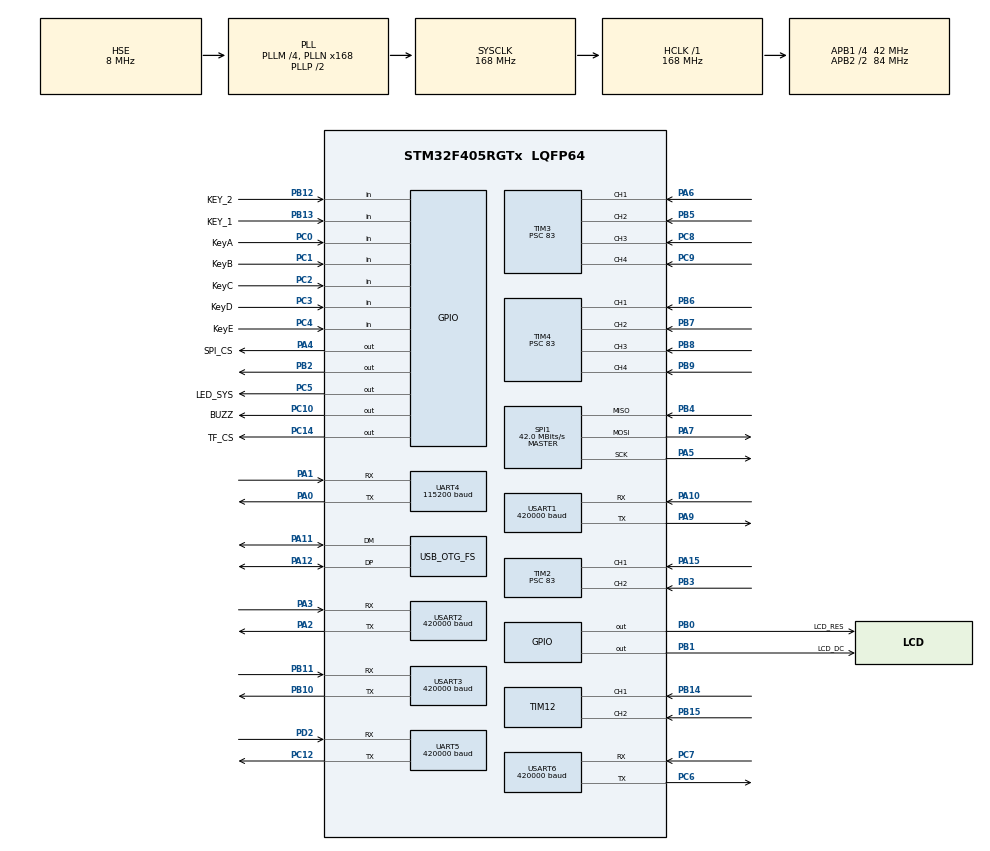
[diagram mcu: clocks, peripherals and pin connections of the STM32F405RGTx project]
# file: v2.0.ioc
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Dma.Request0=USART2_RX
Dma.Request1=USART1_RX
Dma.Request2=USART3_RX
Dma.Request3=SPI1_TX
Dma.Request4=UART4_RX
Dma.Request5=UART5_RX
Dma.Request6=USART6_RX
Dma.SPI1_TX.3.Direction=DMA_MEMORY_TO_PERIPH
Dma.SPI1_TX.3.FIFOMode=DMA_FIFOMODE_DISABLE
Dma.SPI1_TX.3.Instance=DMA2_Stream3
Dma.SPI1_TX.3.MemDataAlignment=DMA_MDATAALIGN_BYTE
Dma.SPI1_TX.3.MemInc=DMA_MINC_ENABLE
Dma.SPI1_TX.3.Mode=DMA_NORMAL
Dma.SPI1_TX.3.PeriphDataAlignment=DMA_PDATAALIGN_BYTE
Dma.SPI1_TX.3.PeriphInc=DMA_PINC_DISABLE
Dma.SPI1_TX.3.Priority=DMA_PRIORITY_LOW
Dma.UART4_RX.4.Direction=DMA_PERIPH_TO_MEMORY
Dma.UART4_RX.4.FIFOMode=DMA_FIFOMODE_DISABLE
Dma.UART4_RX.4.Instance=DMA1_Stream2
Dma.UART4_RX.4.MemDataAlignment=DMA_MDATAALIGN_BYTE
Dma.UART4_RX.4.MemInc=DMA_MINC_ENABLE
Dma.UART4_RX.4.Mode=DMA_NORMAL
Dma.UART4_RX.4.PeriphDataAlignment=DMA_PDATAALIGN_BYTE
Dma.UART4_RX.4.PeriphInc=DMA_PINC_DISABLE
Dma.UART4_RX.4.Priority=DMA_PRIORITY_HIGH
Dma.UART5_RX.5.Direction=DMA_PERIPH_TO_MEMORY
Dma.UART5_RX.5.FIFOMode=DMA_FIFOMODE_DISABLE
Dma.UART5_RX.5.Instance=DMA1_Stream0
Dma.UART5_RX.5.MemDataAlignment=DMA_MDATAALIGN_BYTE
Dma.UART5_RX.5.MemInc=DMA_MINC_ENABLE
Dma.UART5_RX.5.Mode=DMA_NORMAL
Dma.UART5_RX.5.PeriphDataAlignment=DMA_PDATAALIGN_BYTE
Dma.UART5_RX.5.PeriphInc=DMA_PINC_DISABLE
Dma.UART5_RX.5.Priority=DMA_PRIORITY_LOW
Dma.USART1_RX.1.Direction=DMA_PERIPH_TO_MEMORY
Dma.USART1_RX.1.FIFOMode=DMA_FIFOMODE_DISABLE
Dma.USART1_RX.1.Instance=DMA2_Stream2
Dma.USART1_RX.1.MemDataAlignment=DMA_MDATAALIGN_BYTE
Dma.USART1_RX.1.MemInc=DMA_MINC_ENABLE
Dma.USART1_RX.1.Mode=DMA_NORMAL
Dma.USART1_RX.1.PeriphDataAlignment=DMA_PDATAALIGN_BYTE
Dma.USART1_RX.1.PeriphInc=DMA_PINC_DISABLE
Dma.USART1_RX.1.Priority=DMA_PRIORITY_HIGH
Dma.USART2_RX.0.Direction=DMA_PERIPH_TO_MEMORY
Dma.USART2_RX.0.FIFOMode=DMA_FIFOMODE_DISABLE
Dma.USART2_RX.0.Instance=DMA1_Stream5
Dma.USART2_RX.0.MemDataAlignment=DMA_MDATAALIGN_BYTE
Dma.USART2_RX.0.MemInc=DMA_MINC_ENABLE
Dma.USART2_RX.0.Mode=DMA_NORMAL
Dma.USART2_RX.0.PeriphDataAlignment=DMA_PDATAALIGN_BYTE
Dma.USART2_RX.0.PeriphInc=DMA_PINC_DISABLE
Dma.USART2_RX.0.Priority=DMA_PRIORITY_HIGH
Dma.USART3_RX.2.Direction=DMA_PERIPH_TO_MEMORY
Dma.USART3_RX.2.FIFOMode=DMA_FIFOMODE_DISABLE
Dma.USART3_RX.2.Instance=DMA1_Stream1
Dma.USART3_RX.2.MemDataAlignment=DMA_MDATAALIGN_BYTE
Dma.USART3_RX.2.MemInc=DMA_MINC_ENABLE
Dma.USART3_RX.2.Mode=DMA_NORMAL
Dma.USART3_RX.2.PeriphDataAlignment=DMA_PDATAALIGN_BYTE
Dma.USART3_RX.2.PeriphInc=DMA_PINC_DISABLE
Dma.USART3_RX.2.Priority=DMA_PRIORITY_HIGH
Dma.USART6_RX.6.Direction=DMA_PERIPH_TO_MEMORY
Dma.USART6_RX.6.FIFOMode=DMA_FIFOMODE_DISABLE
Dma.USART6_RX.6.Instance=DMA2_Stream1
Dma.USART6_RX.6.MemDataAlignment=DMA_MDATAALIGN_BYTE
Dma.USART6_RX.6.MemInc=DMA_MINC_ENABLE
Dma.USART6_RX.6.Mode=DMA_NORMAL
Dma.USART6_RX.6.PeriphDataAlignment=DMA_PDATAALIGN_BYTE
Dma.USART6_RX.6.PeriphInc=DMA_PINC_DISABLE
Dma.USART6_RX.6.Priority=DMA_PRIORITY_LOW
FREERTOS.Tasks01=defaultTask,0,128,StartDefaultTask,Default,NULL,Dynamic,NULL,NULL
FREERTOS.configTOTAL_HEAP_SIZE=1024*25
IWDG.Prescaler=IWDG_PRESCALER_64
IWDG.Reload=625
Mcu.Family=STM32F4
Mcu.Name=STM32F405RGTx
Mcu.Package=LQFP64
NVIC.DMA1_Stream0_IRQn=true\:5\:0\:false\:false\:true\:true\:false\:true\:true
NVIC.DMA1_Stream1_IRQn=true\:5\:0\:false\:false\:true\:true\:true\:true\:true
NVIC.DMA1_Stream2_IRQn=true\:5\:0\:false\:false\:true\:true\:false\:true\:true
NVIC.DMA1_Stream5_IRQn=true\:6\:0\:true\:false\:true\:true\:false\:true\:true
NVIC.DMA2_Stream1_IRQn=true\:5\:0\:false\:false\:true\:true\:false\:true\:true
NVIC.DMA2_Stream2_IRQn=true\:5\:0\:false\:false\:true\:true\:false\:true\:true
NVIC.DMA2_Stream3_IRQn=true\:5\:0\:false\:false\:true\:true\:false\:true\:true
NVIC.OTG_FS_IRQn=true\:5\:0\:false\:false\:true\:true\:false\:true\:true
NVIC.PriorityGroup=NVIC_PRIORITYGROUP_4
NVIC.SPI1_IRQn=true\:7\:0\:true\:false\:true\:true\:true\:true\:true
NVIC.TIM2_IRQn=true\:5\:0\:false\:false\:true\:false\:true\:true\:true
NVIC.TIM3_IRQn=true\:5\:0\:false\:false\:true\:false\:true\:true\:true
NVIC.TIM4_IRQn=true\:5\:0\:false\:false\:true\:false\:true\:true\:true
NVIC.TIM6_DAC_IRQn=true\:5\:0\:false\:false\:true\:false\:true\:true\:true
NVIC.TIM7_IRQn=true\:7\:0\:true\:false\:true\:false\:true\:true\:true
NVIC.TIM8_BRK_TIM12_IRQn=true\:5\:0\:false\:false\:true\:true\:true\:true\:true
NVIC.UART4_IRQn=true\:5\:0\:false\:false\:true\:true\:true\:true\:true
NVIC.UART5_IRQn=true\:5\:0\:false\:false\:true\:true\:true\:true\:true
NVIC.USART1_IRQn=true\:6\:0\:true\:false\:true\:true\:true\:true\:true
NVIC.USART2_IRQn=true\:6\:0\:true\:false\:true\:true\:true\:true\:true
NVIC.USART3_IRQn=true\:6\:0\:true\:false\:true\:true\:true\:true\:true
NVIC.USART6_IRQn=true\:5\:0\:false\:false\:true\:true\:true\:true\:true
PA0-WKUP.GPIO_PuPd=GPIO_PULLUP
PA0-WKUP.Mode=Asynchronous
PA0-WKUP.Signal=UART4_TX
PA1.GPIO_PuPd=GPIO_PULLUP
PA1.Mode=Asynchronous
PA1.Signal=UART4_RX
PA10.GPIO_PuPd=GPIO_PULLUP
PA10.Mode=Asynchronous
PA10.Signal=USART1_RX
PA11.Mode=Device_Only
PA11.Signal=USB_OTG_FS_DM
PA12.Mode=Device_Only
PA12.Signal=USB_OTG_FS_DP
PA13.Mode=Serial_Wire
PA13.Signal=SYS_JTMS-SWDIO
PA14.Mode=Serial_Wire
PA14.Signal=SYS_JTCK-SWCLK
PA15.GPIO_PuPd=GPIO_PULLUP
PA15.Signal=S_TIM2_CH1_ETR
PA2.GPIO_PuPd=GPIO_PULLUP
PA2.Mode=Asynchronous
PA2.Signal=USART2_TX
PA3.GPIO_PuPd=GPIO_PULLUP
PA3.Mode=Asynchronous
PA3.Signal=USART2_RX
PA4.GPIO_Label=SPI_CS
PA4.GPIO_PuPd=GPIO_PULLUP
PA4.Signal=GPIO_Output
PA5.GPIO_PuPd=GPIO_PULLUP
PA5.Mode=Full_Duplex_Master
PA5.Signal=SPI1_SCK
PA6.GPIO_PuPd=GPIO_PULLUP
PA6.Signal=S_TIM3_CH1
PA7.GPIO_PuPd=GPIO_PULLUP
PA7.Mode=Full_Duplex_Master
PA7.Signal=SPI1_MOSI
PA9.GPIO_PuPd=GPIO_PULLUP
PA9.Mode=Asynchronous
PA9.Signal=USART1_TX
PB0.GPIO_Label=LCD_RES
PB0.GPIO_PuPd=GPIO_PULLUP
PB0.Signal=GPIO_Output
PB1.GPIO_Label=LCD_DC
PB1.GPIO_PuPd=GPIO_PULLUP
PB1.Signal=GPIO_Output
PB10.Mode=Asynchronous
PB10.Signal=USART3_TX
PB11.Mode=Asynchronous
PB11.Signal=USART3_RX
PB12.GPIO_Label=KEY_2
PB12.GPIO_PuPd=GPIO_PULLUP
PB12.Signal=GPIO_Input
PB13.GPIO_Label=KEY_1
PB13.GPIO_PuPd=GPIO_PULLUP
PB13.Signal=GPIO_Input
PB14.Signal=S_TIM12_CH1
PB15.Signal=S_TIM12_CH2
PB2.Signal=GPIO_Output
PB3.GPIO_PuPd=GPIO_PULLUP
PB3.Signal=S_TIM2_CH2
PB4.Mode=Full_Duplex_Master
PB4.Signal=SPI1_MISO
PB5.GPIO_PuPd=GPIO_PULLUP
PB5.Signal=S_TIM3_CH2
PB6.GPIO_PuPd=GPIO_PULLUP
PB6.Signal=S_TIM4_CH1
PB7.GPIO_PuPd=GPIO_PULLUP
PB7.Signal=S_TIM4_CH2
PB8.GPIO_PuPd=GPIO_PULLUP
PB8.Signal=S_TIM4_CH3
PB9.GPIO_PuPd=GPIO_PULLUP
PB9.Signal=S_TIM4_CH4
PC0.GPIO_Label=KeyA
PC0.GPIO_PuPd=GPIO_PULLUP
PC0.Signal=GPIO_Input
PC1.GPIO_Label=KeyB
PC1.GPIO_PuPd=GPIO_PULLUP
PC1.Signal=GPIO_Input
PC10.GPIO_Label=BUZZ
PC10.Signal=GPIO_Output
PC12.Mode=Asynchronous
PC12.Signal=UART5_TX
PC14-OSC32_IN.GPIO_Label=TF_CS
PC14-OSC32_IN.Signal=GPIO_Output
PC2.GPIO_Label=KeyC
PC2.GPIO_PuPd=GPIO_PULLUP
PC2.Signal=GPIO_Input
PC3.GPIO_Label=KeyD
PC3.GPIO_PuPd=GPIO_PULLUP
PC3.Signal=GPIO_Input
PC4.GPIO_Label=KeyE
PC4.GPIO_PuPd=GPIO_PULLUP
PC4.Signal=GPIO_Input
PC5.GPIO_Label=LED_SYS
PC5.Signal=GPIO_Output
PC6.Mode=Asynchronous
PC6.Signal=USART6_TX
PC7.Mode=Asynchronous
PC7.Signal=USART6_RX
PC8.GPIO_PuPd=GPIO_PULLUP
PC8.Signal=S_TIM3_CH3
PC9.GPIO_PuPd=GPIO_PULLUP
PC9.Signal=S_TIM3_CH4
PD2.Mode=Asynchronous
PD2.Signal=UART5_RX
PH0-OSC_IN.Mode=HSE-External-Oscillator
PH0-OSC_IN.Signal=RCC_OSC_IN
PH1-OSC_OUT.Mode=HSE-External-Oscillator
PH1-OSC_OUT.Signal=RCC_OSC_OUT
ProjectManager.HeapSize=0x800
ProjectManager.StackSize=0x800
ProjectManager.TargetToolchain=MDK-ARM V5.32
RCC.48MHZClocksFreq_Value=48000000
RCC.AHBFreq_Value=168000000
RCC.APB1CLKDivider=RCC_HCLK_DIV4
RCC.APB1Freq_Value=42000000
RCC.APB1TimFreq_Value=84000000
RCC.APB2CLKDivider=RCC_HCLK_DIV2
RCC.APB2Freq_Value=84000000
RCC.APB2TimFreq_Value=168000000
RCC.CortexFreq_Value=168000000
RCC.HCLKFreq_Value=168000000
RCC.HSE_VALUE=8000000
RCC.HSI_VALUE=16000000
RCC.LSE_VALUE=32768
RCC.PLLM=4
RCC.PLLN=168
RCC.PLLQ=7
RCC.SYSCLKFreq_VALUE=168000000
RCC.SYSCLKSource=RCC_SYSCLKSOURCE_PLLCLK
RCC.VCOOutputFreq_Value=336000000
SH.S_TIM12_CH1.0=TIM12_CH1,Input_Capture1_from_TI1
SH.S_TIM12_CH2.0=TIM12_CH2,Input_Capture2_from_TI2
SH.S_TIM2_CH1_ETR.0=TIM2_CH1,Input_Capture1_from_TI1
SH.S_TIM2_CH2.0=TIM2_CH2,Input_Capture2_from_TI2
SH.S_TIM3_CH1.0=TIM3_CH1,Input_Capture1_from_TI1
SH.S_TIM3_CH2.0=TIM3_CH2,Input_Capture2_from_TI2
SH.S_TIM3_CH3.0=TIM3_CH3,Input_Capture3_from_TI3
SH.S_TIM3_CH4.0=TIM3_CH4,Input_Capture4_from_TI4
SH.S_TIM4_CH1.0=TIM4_CH1,Input_Capture1_from_TI1
SH.S_TIM4_CH2.0=TIM4_CH2,Input_Capture2_from_TI2
SH.S_TIM4_CH3.0=TIM4_CH3,Input_Capture3_from_TI3
SH.S_TIM4_CH4.0=TIM4_CH4,Input_Capture4_from_TI4
SPI1.BaudRatePrescaler=SPI_BAUDRATEPRESCALER_2
SPI1.CalculateBaudRate=42.0 MBits/s
SPI1.Direction=SPI_DIRECTION_2LINES
SPI1.Mode=SPI_MODE_MASTER
SPI1.VirtualNSS=VM_NSSHARD
SPI1.VirtualType=VM_MASTER
TIM12.Channel-Input_Capture1_from_TI1=TIM_CHANNEL_1
TIM12.Channel-Input_Capture2_from_TI2=TIM_CHANNEL_2
TIM2.Channel-Input_Capture1_from_TI1=TIM_CHANNEL_1
TIM2.Channel-Input_Capture2_from_TI2=TIM_CHANNEL_2
TIM2.ICFilter_CH1=10
TIM2.ICFilter_CH2=10
TIM2.Period=65535
TIM2.Prescaler=83
TIM3.Channel-Input_Capture1_from_TI1=TIM_CHANNEL_1
TIM3.Channel-Input_Capture2_from_TI2=TIM_CHANNEL_2
TIM3.Channel-Input_Capture3_from_TI3=TIM_CHANNEL_3
TIM3.Channel-Input_Capture4_from_TI4=TIM_CHANNEL_4
TIM3.ICFilter_CH1=10
TIM3.ICFilter_CH2=10
TIM3.ICFilter_CH3=10
TIM3.ICFilter_CH4=10
TIM3.Prescaler=83
TIM4.Channel-Input_Capture1_from_TI1=TIM_CHANNEL_1
TIM4.Channel-Input_Capture2_from_TI2=TIM_CHANNEL_2
TIM4.Channel-Input_Capture3_from_TI3=TIM_CHANNEL_3
TIM4.Channel-Input_Capture4_from_TI4=TIM_CHANNEL_4
TIM4.ICFilter_CH1=10
TIM4.ICFilter_CH2=10
TIM4.ICFilter_CH3=10
TIM4.ICFilter_CH4=10
TIM4.Prescaler=83
TIM6.Period=7
TIM6.Prescaler=83
TIM7.Period=5000-1
TIM7.Prescaler=8300
UART4.BaudRate=115200
UART4.VirtualMode=Asynchronous
UART5.BaudRate=420000
UART5.VirtualMode=Asynchronous
USART1.BaudRate=420000
USART1.VirtualMode=VM_ASYNC
USART2.BaudRate=420000
USART2.VirtualMode=VM_ASYNC
USART3.BaudRate=420000
USART3.VirtualMode=VM_ASYNC
USART6.BaudRate=420000
USART6.VirtualMode=VM_ASYNC
USB_DEVICE.CLASS_NAME_FS=CDC
USB_DEVICE.VirtualMode-CDC_FS=Cdc
USB_DEVICE.VirtualModeFS=Cdc_FS
USB_OTG_FS.VirtualMode=Device_Only
VP_FREERTOS_VS_CMSIS_V1.Mode=CMSIS_V1
VP_IWDG_VS_IWDG.Mode=IWDG_Activate
VP_TIM6_VS_ClockSourceINT.Mode=Enable_Timer
VP_TIM7_VS_ClockSourceINT.Mode=Enable_Timer
VP_USB_DEVICE_VS_USB_DEVICE_CDC_FS.Mode=CDC_FS
board=custom

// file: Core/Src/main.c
/* USER CODE BEGIN Header */
/**
  ******************************************************************************
  * @file           : main.c
  * @brief          : Main program body
  ******************************************************************************
  * @attention
  *
  * Copyright (c) 2025 STMicroelectronics.
  * All rights reserved.
  *
  * This software is licensed under terms that can be found in the LICENSE file
  * in the root directory of this software component.
  * If no LICENSE file comes with this software, it is provided AS-IS.
  *
  ******************************************************************************
  */
/* USER CODE END Header */
#include "main.h"
#include "cmsis_os.h"
#include "dma.h"
#include "iwdg.h"
#include "spi.h"
#include "tim.h"
#include "usart.h"
#include "usb_device.h"
#include "gpio.h"

/* USER CODE BEGIN Includes */
#include "lcd.h"
#include "crfs.h"
#include "rf_port.h"
#include "pwm_freq.h"
uint8_t DisplayData[8][20];             //LCD显示buf
extern uint8_t ping_phrase[];
uint8_t BindData[]= {0xEA,0xEA,0xEA,0xEA,0xEA,0xEA};
extern int RX_RSSI_GET,RX_LQ_GET;
extern uint8_t CRSF_RawData_1[CRSF_MAX_PACKET_LEN+3];
extern uint8_t CRSF_RawData_2[CRSF_MAX_PACKET_LEN+3];
extern uint8_t  string_data[20];
extern uint8_t  version_string_data[2];
extern uint8_t  indexes_len;
extern u16 temp_data;
extern uint32_t data_timeout;
extern float TimeFrequency[12];                //12个通道频率
extern float TimeDuty[12];                     //12个通道占空比
extern float channe_target_fre;
		uint32_t period_time=0;
/* USER CODE END Includes */

/* USER CODE BEGIN PTD */
extern u8 CRSF_FRAMETYPE_BARO_ALTITUDE_static;
extern u8 CRSF_FRAMETYPE_BATTERY_static;
extern u8 CRSF_FRAMETYPE_LINK_static;
/* USER CODE END PTD */

void SystemClock_Config(void);
void MX_FREERTOS_Init(void);

int main(void)
{

  /* MCU Configuration--------------------------------------------------------*/

  /* Reset of all peripherals, Initializes the Flash interface and the Systick. */
  HAL_Init();

  /* Configure the system clock */
  SystemClock_Config();

  /* Initialize all configured peripherals */
  MX_GPIO_Init();
  MX_DMA_Init();
  MX_USART2_UART_Init();
  MX_USART1_UART_Init();
  MX_USART3_UART_Init();
  MX_SPI1_Init();
  MX_TIM2_Init();
  MX_TIM3_Init();
  MX_TIM4_Init();
  MX_TIM6_Init();
  MX_TIM7_Init();
  MX_UART4_Init();
  MX_TIM12_Init();
  MX_UART5_Init();
  MX_USART6_UART_Init();
  MX_IWDG_Init();
  /* USER CODE BEGIN 2 */
	Flash_para_init();
	Crc8_init(0xD5);
	Rx_device_init();
	HAL_TIM_Base_Start_IT(&htim6);
	HAL_TIM_Base_Start_IT(&htim7);

	__HAL_UART_ENABLE_IT(&huart1,UART_IT_IDLE);
	__HAL_UART_ENABLE_IT(&huart2,UART_IT_IDLE);
	__HAL_UART_ENABLE_IT(&huart3,UART_IT_IDLE);
	__HAL_UART_ENABLE_IT(&huart4,UART_IT_IDLE);
	__HAL_UART_ENABLE_IT(&huart5,UART_IT_IDLE);
	__HAL_UART_ENABLE_IT(&huart6,UART_IT_IDLE);

  /* USER CODE END 2 */

  /* Call init function for freertos objects (in freertos.c) */
  MX_FREERTOS_Init();

  /* Start scheduler */
  osKernelStart();

  /* We should never get here as control is now taken by the scheduler */
  /* Infinite loop */
  while (1)
  {

  }
}

void SystemClock_Config(void)
{
  RCC_OscInitTypeDef RCC_OscInitStruct = {0};
  RCC_ClkInitTypeDef RCC_ClkInitStruct = {0};

  /** Configure the main internal regulator output voltage
  */
  __HAL_RCC_PWR_CLK_ENABLE();
  __HAL_PWR_VOLTAGESCALING_CONFIG(PWR_REGULATOR_VOLTAGE_SCALE1);

  /** Initializes the RCC Oscillators according to the specified parameters
  * in the RCC_OscInitTypeDef structure.
  */
  RCC_OscInitStruct.OscillatorType = RCC_OSCILLATORTYPE_LSI|RCC_OSCILLATORTYPE_HSE;
  RCC_OscInitStruct.HSEState = RCC_HSE_ON;
  RCC_OscInitStruct.LSIState = RCC_LSI_ON;
  RCC_OscInitStruct.PLL.PLLState = RCC_PLL_ON;
  RCC_OscInitStruct.PLL.PLLSource = RCC_PLLSOURCE_HSE;
  RCC_OscInitStruct.PLL.PLLM = 4;
  RCC_OscInitStruct.PLL.PLLN = 168;
  RCC_OscInitStruct.PLL.PLLP = RCC_PLLP_DIV2;
  RCC_OscInitStruct.PLL.PLLQ = 7;
  if (HAL_RCC_OscConfig(&RCC_OscInitStruct) != HAL_OK)
  {
    Error_Handler();
  }

  /** Initializes the CPU, AHB and APB buses clocks
  */
  RCC_ClkInitStruct.ClockType = RCC_CLOCKTYPE_HCLK|RCC_CLOCKTYPE_SYSCLK
                              |RCC_CLOCKTYPE_PCLK1|RCC_CLOCKTYPE_PCLK2;
  RCC_ClkInitStruct.SYSCLKSource = RCC_SYSCLKSOURCE_PLLCLK;
  RCC_ClkInitStruct.AHBCLKDivider = RCC_SYSCLK_DIV1;
  RCC_ClkInitStruct.APB1CLKDivider = RCC_HCLK_DIV4;
  RCC_ClkInitStruct.APB2CLKDivider = RCC_HCLK_DIV2;

  if (HAL_RCC_ClockConfig(&RCC_ClkInitStruct, FLASH_LATENCY_5) != HAL_OK)
  {
    Error_Handler();
  }
}

void Error_Handler(void)
{
  __disable_irq();
  while (1)
  {
  }
}

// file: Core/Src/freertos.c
/* USER CODE BEGIN Header */
/**
  ******************************************************************************
  * File Name          : freertos.c
  * Description        : Code for freertos applications
  ******************************************************************************
  * @attention
  *
  * Copyright (c) 2025 STMicroelectronics.
  * All rights reserved.
  *
  * This software is licensed under terms that can be found in the LICENSE file
  * in the root directory of this software component.
  * If no LICENSE file comes with this software, it is provided AS-IS.
  *
  ******************************************************************************
  */
/* USER CODE END Header */

#include "FreeRTOS.h"
#include "task.h"
#include "main.h"
#include "cmsis_os.h"

/* USER CODE BEGIN Includes */
#include "lcd.h"
#include "gui.h"
#include "USART.h"
#include "device.h"
#include "rf_port.h"
#include "flash.h"
#include "pwm_freq.h"
#include "crfs.h"
/* USER CODE END Includes */

/* USER CODE BEGIN PTD */
extern u16 channe_target_value;
extern Rx_target * current_rx_target;
extern Rx_target Rx4,Rx6,Rx6_dual,Rx8_dual;//PWM接收机
extern Rx_target SuperD,SuperXnano,SuperXmono;//rx接收机
			extern float channe_target_fre;
extern	u8 CRSF_FRAMETYPE_BARO_ALTITUDE_static;
extern crsfLinkStatistics_t RX1_telemtering;
extern crsfLinkStatistics_t RX2_telemtering;
extern crsfLinkStatistics_t RX3_telemtering;
extern crsfLinkStatistics_t RX4_telemtering;
extern crsfLinkStatistics_t RX5_telemtering;
extern crsfLinkStatistics_t RX6_telemtering;

extern int8_t RX1_RSSI,RX1_LQ_GET,//接收机回传信息
			 RX2_RSSI,RX2_LQ_GET,
			 RX3_RSSI,RX3_LQ_GET,
			 RX5_RSSI,RX5_LQ_GET,
		   RX6_RSSI,RX6_LQ_GET;
/* USER CODE END PTD */

/* USER CODE BEGIN Variables */
extern u8 Test_Ready;

/* USER CODE END Variables */
osThreadId defaultTaskHandle;

/* USER CODE BEGIN FunctionPrototypes */
osThreadId BaseTask_1_Handle;
void BaseTask_1_Fun(void const * argument);

osThreadId BaseTask_2_Handle;
void BaseTask_2_Fun(void const * argument);

osThreadId BaseTask_3_Handle;
void BaseTask_3_Fun(void const * argument);

osThreadId RX_TESTTask_Handle;
void RX_TEST_Auto_Task_Fun(void const * argument);

osThreadId RX_MANULTask_Handle;
void RX_TEST_MANUL_Task_Fun(void const * argument);

osThreadId TransmiterTask_Handle;
void Transmiter_Task_Fun(void const * argument);
/* USER CODE END FunctionPrototypes */

void StartDefaultTask(void const * argument);

extern void MX_USB_DEVICE_Init(void);
void MX_FREERTOS_Init(void); /* (MISRA C 2004 rule 8.1) */

/* GetIdleTaskMemory prototype (linked to static allocation support) */
void vApplicationGetIdleTaskMemory( StaticTask_t **ppxIdleTaskTCBBuffer, StackType_t **ppxIdleTaskStackBuffer, uint32_t *pulIdleTaskStackSize );

/* USER CODE BEGIN GET_IDLE_TASK_MEMORY */
static StaticTask_t xIdleTaskTCBBuffer;
static StackType_t xIdleStack[configMINIMAL_STACK_SIZE];

void vApplicationGetIdleTaskMemory( StaticTask_t **ppxIdleTaskTCBBuffer, StackType_t **ppxIdleTaskStackBuffer, uint32_t *pulIdleTaskStackSize )
{
  *ppxIdleTaskTCBBuffer = &xIdleTaskTCBBuffer;
  *ppxIdleTaskStackBuffer = &xIdleStack[0];
  *pulIdleTaskStackSize = configMINIMAL_STACK_SIZE;
  /* place for user code */
}
/* USER CODE END GET_IDLE_TASK_MEMORY */

void MX_FREERTOS_Init(void) {

  /* Create the thread(s) */
  /* definition and creation of defaultTask */
  osThreadDef(defaultTask, StartDefaultTask, osPriorityNormal, 0, 128);
  defaultTaskHandle = osThreadCreate(osThread(defaultTask), NULL);

}

void StartDefaultTask(void const * argument)
{
  /* init code for USB_DEVICE */
  MX_USB_DEVICE_Init();
  /* USER CODE BEGIN StartDefaultTask */
			 osThreadDef(BaseTask_1_Handle, BaseTask_1_Fun, osPriorityNormal, 0, 1024);
		BaseTask_1_Handle = osThreadCreate(osThread(BaseTask_1_Handle), NULL);

		osThreadDef(BaseTask_2_Handle, BaseTask_2_Fun, osPriorityAboveNormal, 0, 128);
		BaseTask_2_Handle = osThreadCreate(osThread(BaseTask_2_Handle), NULL);

		osThreadDef(BaseTask_3_Handle, BaseTask_3_Fun, osPriorityNormal, 0, 128);
		BaseTask_3_Handle = osThreadCreate(osThread(BaseTask_3_Handle), NULL);

		osThreadDef(RX_TESTTask_Handle, RX_TEST_Auto_Task_Fun, osPriorityAboveNormal, 0, 2028);
		RX_TESTTask_Handle = osThreadCreate(osThread(RX_TESTTask_Handle), NULL);
		vTaskSuspend(RX_TESTTask_Handle);

		osThreadDef(RX_MANULTask_Handle, RX_TEST_MANUL_Task_Fun, osPriorityAboveNormal, 0, 1024);
		RX_MANULTask_Handle = osThreadCreate(osThread(RX_MANULTask_Handle), NULL);
		vTaskSuspend(RX_MANULTask_Handle);

		osThreadDef(TransmiterTask_Handle, Transmiter_Task_Fun, osPriorityNormal, 0, 128);
		TransmiterTask_Handle = osThreadCreate(osThread(TransmiterTask_Handle), NULL);
		  /* Infinite loop */
  for(;;)
  {

//
    osDelay(1000);
  }
  /* USER CODE END StartDefaultTask */
}

/* USER CODE BEGIN Application */
void BaseTask_1_Fun(void const * argument)
{
	LCD_Init();
	drawMainMenu();
	HAL_Delay(300);
  for(;;)
  {
		PING_TX_INFO();
		Key_Scan( );
		Menu_Process();
    osDelay(10);
  }
}

extern u8 Key_5D_state;
void BaseTask_2_Fun(void const * argument)
{
  for(;;)
  {

		Get_Pwm_channle();
		Update_PWM_RX_Info();
		Get_PWM_RX_Info();
		dynamic_display();
    osDelay(20);
  }
}
u16 channe_target_value_l=300;

u16 channe_target_value_h=2047;
void BaseTask_3_Fun(void const * argument)
{
  for(;;)
  {
		static u8 t;
		if(t)
		{
			channe_target_value=300;
			channe_target_fre=5.1;
			t=0;
		}
		else
		{
			channe_target_value=2047;
			channe_target_fre=10;
			t=1;
		}
		Global_dynamic_display();
    osDelay(600);
  }

}

extern u8 test_mode;
u8 test_step=0;
void RX_TEST_Auto_Task_Fun(void const * argument)
{
u8 i=0;
  for(;;)
  {
		if(test_mode==1)
		{
			if(Test_Ready==1)//自动测试
			{

				while(test_step<=4)
				{
					i=0;
					Auto_test(&test_step);
					osDelay(10);
				}
			}
		}
    osDelay(10);
  }
}

extern Flash_para Global_parameter;
extern unsigned char LINK_CONNECT_STATIC;
extern RX_Device_t PWM_RX;//接收机实体
extern crsfLinkStatistics_t RX1_telemtering;
extern crsfLinkStatistics_t RX2_telemtering;
extern crsfLinkStatistics_t RX3_telemtering;
extern crsfLinkStatistics_t RX4_telemtering;
float ch[12]={0};
u16 td1;

void RX_TEST_MANUL_Task_Fun(void const * argument)
{
		Pwm_channle_t* ch_struct_p;
		u16 Channle_color;
		u16 ALT_color;
		u16 Vbat_color;

  for(;;)
  {
		if(Test_Ready==1)
		{
			while(test_mode==2)
			{

				td1=*current_rx_target&0x8000;
				if((*current_rx_target&0x8000)==Pwm_RX)
				{
					if(LINK_CONNECT_STATIC==1)
					{
							if(PWM_RX.RSSI<Global_parameter.RSSI_threshold)
							{
								LCD_ShowNum_Color(55,20	,GREEN,WHITE,PWM_RX.RSSI,3,16);
							}
							else
							{
								LCD_ShowNum_Color(55,20	,RED,WHITE,PWM_RX.RSSI,3,16);
							}
							if(PWM_RX.LQ>Global_parameter.LQ_threshold)
							{
								LCD_ShowNum_Color(125,20	,GREEN,WHITE,PWM_RX.LQ,3,16);
							}
							else
							{
								LCD_ShowNum_Color(125,20	,RED,WHITE,PWM_RX.LQ,3,16);
							}

						 if((((*current_rx_target)>>1)&(0x01))==1)
							 {

	//						 LCD_ShowFloat(115,40,PWM_RX.Vbat,RED,WHITE,16,0);
							if((PWM_RX.Vbat>4.5)&(PWM_RX.Vbat<5.2))
								{
								Vbat_color=GREEN;
								}

								else
								{
									Vbat_color=RED;
								}
								LCD_ShowFloat(115,40,PWM_RX.Vbat,Vbat_color,WHITE,16,0);
							 }
						 if((((*current_rx_target)>>2)&(0x01))==1)
							 {

								if(CRSF_FRAMETYPE_BARO_ALTITUDE_static>=1)
								{
									ALT_color=GREEN;
								}
								else
								{
									ALT_color=RED;
								}
								LCD_ShowFloat(40,40,PWM_RX.ALT,ALT_color,WHITE,16,0);
	//							LCD_ShowFloat(40,40,PWM_RX.ALT,GREEN,WHITE,16,0);

							 }

							 uint8_t PWM_Ch_cnt=0;
							switch(((*current_rx_target)>>5)&(0xf))
						 {
							case 4:
							Channle_color=Channle_color_judge(PWM_RX.Channle.CH1);
							LCD_ShowNum_Color(55,60	,Channle_color,WHITE,PWM_RX.Channle.CH1,2,16);
							Channle_color=Channle_color_judge(PWM_RX.Channle.CH2);
							LCD_ShowNum_Color(135,60	,Channle_color,WHITE,PWM_RX.Channle.CH2,2,16);
							Channle_color=Channle_color_judge(PWM_RX.Channle.CH3);
							LCD_ShowNum_Color(55,75	,Channle_color,WHITE,PWM_RX.Channle.CH3,2,16);
							Channle_color=Channle_color_judge(PWM_RX.Channle.CH4);
							LCD_ShowNum_Color(135,75	,Channle_color,WHITE,PWM_RX.Channle.CH4,2,16);
							break;
							case 6:
							Channle_color=Channle_color_judge(PWM_RX.Channle.CH1);
							LCD_ShowNum_Color(55,60	,Channle_color,WHITE,PWM_RX.Channle.CH1,2,16);
							Channle_color=Channle_color_judge(PWM_RX.Channle.CH2);
							LCD_ShowNum_Color(135,60	,Channle_color,WHITE,PWM_RX.Channle.CH2,2,16);
							Channle_color=Channle_color_judge(PWM_RX.Channle.CH3);
							LCD_ShowNum_Color(55,75	,Channle_color,WHITE,PWM_RX.Channle.CH3,2,16);
							Channle_color=Channle_color_judge(PWM_RX.Channle.CH4);
							LCD_ShowNum_Color(135,75	,Channle_color,WHITE,PWM_RX.Channle.CH4,2,16);
							Channle_color=Channle_color_judge(PWM_RX.Channle.CH5);
							LCD_ShowNum_Color(55,90	,Channle_color,WHITE,PWM_RX.Channle.CH5,2,16);
							Channle_color=Channle_color_judge(PWM_RX.Channle.CH6);
							LCD_ShowNum_Color(135,90	,Channle_color,WHITE,PWM_RX.Channle.CH6,2,16);
							break;
							case 8:
							Channle_color=Channle_color_judge(PWM_RX.Channle.CH1);
							LCD_ShowNum_Color(55,60	,Channle_color,WHITE,PWM_RX.Channle.CH1,2,16);
							Channle_color=Channle_color_judge(PWM_RX.Channle.CH2);
							LCD_ShowNum_Color(135,60	,Channle_color,WHITE,PWM_RX.Channle.CH2,2,16);
							Channle_color=Channle_color_judge(PWM_RX.Channle.CH3);
							LCD_ShowNum_Color(55,75	,Channle_color,WHITE,PWM_RX.Channle.CH3,2,16);
							Channle_color=Channle_color_judge(PWM_RX.Channle.CH4);
							LCD_ShowNum_Color(135,75	,Channle_color,WHITE,PWM_RX.Channle.CH4,2,16);
							Channle_color=Channle_color_judge(PWM_RX.Channle.CH5);
							LCD_ShowNum_Color(55,90	,Channle_color,WHITE,PWM_RX.Channle.CH5,2,16);
							Channle_color=Channle_color_judge(PWM_RX.Channle.CH6);
							LCD_ShowNum_Color(135,90	,Channle_color,WHITE,PWM_RX.Channle.CH6,2,16);
							Channle_color=Channle_color_judge(PWM_RX.Channle.CH7);
							LCD_ShowNum_Color(55,105	,Channle_color,WHITE,PWM_RX.Channle.CH7,2,16);
							Channle_color=Channle_color_judge(PWM_RX.Channle.CH8);
							LCD_ShowNum_Color(135,105	,Channle_color,WHITE,PWM_RX.Channle.CH8,2,16);
							break;
							case 14:
							Channle_color=Channle_color_judge(PWM_RX.Channle.CH1);
							LCD_ShowNum_Color(55,45	,Channle_color,WHITE,PWM_RX.Channle.CH1,2,16);
							Channle_color=Channle_color_judge(PWM_RX.Channle.CH2);
							LCD_ShowNum_Color(135,45	,Channle_color,WHITE,PWM_RX.Channle.CH2,2,16);
							Channle_color=Channle_color_judge(PWM_RX.Channle.CH3);
							LCD_ShowNum_Color(55,60	,Channle_color,WHITE,PWM_RX.Channle.CH3,2,16);

							Channle_color=Channle_color_judge(PWM_RX.Channle.CH4);
							LCD_ShowNum_Color(135,60	,Channle_color,WHITE,PWM_RX.Channle.CH4,2,16);
							Channle_color=Channle_color_judge(PWM_RX.Channle.CH5);
							LCD_ShowNum_Color(55,75	,Channle_color,WHITE,PWM_RX.Channle.CH5,2,16);
							Channle_color=Channle_color_judge(PWM_RX.Channle.CH6);
							LCD_ShowNum_Color(135,75	,Channle_color,WHITE,PWM_RX.Channle.CH6,2,16);

							Channle_color=Channle_color_judge(PWM_RX.Channle.CH7);
							LCD_ShowNum_Color(55,90	,Channle_color,WHITE,PWM_RX.Channle.CH7,2,16);
							Channle_color=Channle_color_judge(PWM_RX.Channle.CH8);
							LCD_ShowNum_Color(135,90	,Channle_color,WHITE,PWM_RX.Channle.CH8,2,16);
							Channle_color=Channle_color_judge(PWM_RX.Channle.CH9);
							LCD_ShowNum_Color(55,105	,Channle_color,WHITE,PWM_RX.Channle.CH9,2,16);

							Channle_color=Channle_color_judge(PWM_RX.Channle.CH10);
							LCD_ShowNum_Color(135,105	,Channle_color,WHITE,PWM_RX.Channle.CH10,2,16);

							break;
						 }

	//
					}
					else
					{
						uint8_t PWM_Ch_cnt=0;
						LCD_ShowNum_Color(55,20	,RED,WHITE,0,3,16);
						LCD_ShowNum_Color(125,20	,RED,WHITE,0,3,16);

					 if((((*current_rx_target)>>1)&(0x01))==1)
						 {

						 LCD_ShowFloat(115,40,0,RED,WHITE,16,0);

						 }
					 if((((*current_rx_target)>>2)&(0x01))==1)
						 {

							LCD_ShowFloat(40,40,0,RED,WHITE,16,0);

						 }
						switch(((*current_rx_target)>>5)&(0xf))
					 {
						case 4:
						LCD_ShowNum_Color(55,60	,RED,WHITE,0,2,16);
						LCD_ShowNum_Color(135,60	,RED,WHITE,0,2,16);
						LCD_ShowNum_Color(55,75	,RED,WHITE,0,2,16);
						LCD_ShowNum_Color(135,75	,RED,WHITE,0,2,16);
						break;
						case 6:
						LCD_ShowNum_Color(55,60	,RED,WHITE,0,2,16);
						LCD_ShowNum_Color(135,60	,RED,WHITE,0,2,16);
						LCD_ShowNum_Color(55,75	,RED,WHITE,0,2,16);
						LCD_ShowNum_Color(135,75	,RED,WHITE,0,2,16);
						LCD_ShowNum_Color(55,90	,RED,WHITE,0,2,16);
						LCD_ShowNum_Color(135,90	,RED,WHITE,0,2,16);
						break;
						case 8:
						LCD_ShowNum_Color(55,60	,RED,WHITE,0,2,16);
						LCD_ShowNum_Color(135,60	,RED,WHITE,0,2,16);
						LCD_ShowNum_Color(55,75	,RED,WHITE,0,2,16);
						LCD_ShowNum_Color(135,75	,RED,WHITE,0,2,16);
						LCD_ShowNum_Color(55,90	,RED,WHITE,0,2,16);
						LCD_ShowNum_Color(135,90	,RED,WHITE,0,2,16);
						LCD_ShowNum_Color(55,105	,RED,WHITE,0,2,16);
						LCD_ShowNum_Color(135,105	,RED,WHITE,0,2,16);
						break;
						case 14:
							for(uint8_t i=0;i <5;i++)
							{
								for(uint8_t y=0;y <2;y++)
								{
									PWM_Ch_cnt++;
									Channle_color=Channle_color_judge(ch[PWM_Ch_cnt-1]);
									LCD_ShowNum_Color(55+80*y,45+15*i	,RED,WHITE,ch[PWM_Ch_cnt-1],2,16);

								}
							}
						break;
					 }
				}
				}
				else if((*current_rx_target&0x8000)==Normal_RX)
				{
										LCD_ShowNum_Color(55,20	,BROWN,WHITE,RX1_RSSI,3,16);
					LCD_ShowNum_Color(135,20	,BROWN,WHITE,RX1_LQ_GET,3,16);

										LCD_ShowNum_Color(55,36	,BROWN,WHITE,RX2_RSSI,3,16);
					LCD_ShowNum_Color(135,36	,BROWN,WHITE,RX2_LQ_GET,3,16);

										LCD_ShowNum_Color(55,56	,BROWN,WHITE,RX3_RSSI,3,16);
					LCD_ShowNum_Color(135,56	,BROWN,WHITE,RX3_LQ_GET,3,16);

										LCD_ShowNum_Color(55,72	,BROWN,WHITE,RX5_RSSI,3,16);
					LCD_ShowNum_Color(135,72	,BROWN,WHITE,RX5_LQ_GET,3,16);

										LCD_ShowNum_Color(55,92	,BROWN,WHITE,RX6_RSSI,3,16);
					LCD_ShowNum_Color(135,92	,BROWN,WHITE,RX6_LQ_GET,3,16);
//					LCD_ShowNum_Color(55,20	,GREEN,WHITE,RX1_telemtering,3,16);
//					RX1_telemtering.
//					RX1_telemtering.

				}

				osDelay(10);
			}
		}
    osDelay(10);
  }
}

void Transmiter_Task_Fun(void const * argument)
{
  for(;;)
  {
	transmitter_CHANNLE();
   osDelay(20);

  }
}
/* USER CODE END Application */
